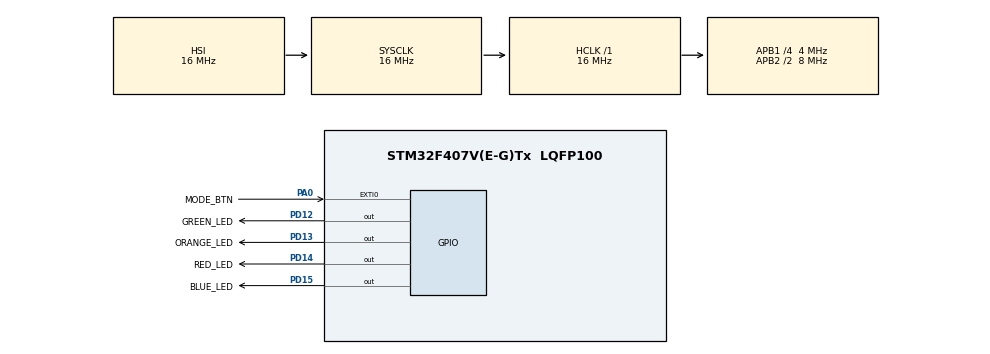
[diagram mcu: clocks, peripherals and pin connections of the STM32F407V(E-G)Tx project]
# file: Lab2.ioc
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Mcu.Family=STM32F4
Mcu.Name=STM32F407V(E-G)Tx
Mcu.Package=LQFP100
NVIC.EXTI0_IRQn=true\:0\:0\:false\:false\:true\:true\:true\:true
NVIC.PriorityGroup=NVIC_PRIORITYGROUP_4
PA0-WKUP.GPIO_Label=MODE_BTN
PA0-WKUP.GPIO_PuPd=GPIO_PULLDOWN
PA0-WKUP.Signal=GPXTI0
PD12.GPIO_Label=GREEN_LED
PD12.Signal=GPIO_Output
PD13.GPIO_Label=ORANGE_LED
PD13.Signal=GPIO_Output
PD14.GPIO_Label=RED_LED
PD14.Signal=GPIO_Output
PD15.GPIO_Label=BLUE_LED
PD15.Signal=GPIO_Output
ProjectManager.HeapSize=0x200
ProjectManager.StackSize=0x400
ProjectManager.TargetToolchain=STM32CubeIDE
RCC.48MHZClocksFreq_Value=32000000
RCC.AHBFreq_Value=16000000
RCC.APB1CLKDivider=RCC_HCLK_DIV4
RCC.APB1Freq_Value=4000000
RCC.APB1TimFreq_Value=8000000
RCC.APB2CLKDivider=RCC_HCLK_DIV2
RCC.APB2Freq_Value=8000000
RCC.APB2TimFreq_Value=16000000
RCC.CortexFreq_Value=16000000
RCC.HCLKFreq_Value=16000000
RCC.HSE_VALUE=25000000
RCC.HSI_VALUE=16000000
RCC.LSE_VALUE=32768
RCC.PLLM=8
RCC.PLLN=64
RCC.SYSCLKFreq_VALUE=16000000
RCC.VCOOutputFreq_Value=128000000
board=custom

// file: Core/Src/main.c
/* USER CODE BEGIN Header */
/**
  ******************************************************************************
  * @file           : main.c
  * @brief          : Main program body
  ******************************************************************************
  * @attention
  *
  * Copyright (c) 2024 STMicroelectronics.
  * All rights reserved.
  *
  * This software is licensed under terms that can be found in the LICENSE file
  * in the root directory of this software component.
  * If no LICENSE file comes with this software, it is provided AS-IS.
  *
  ******************************************************************************
  */
/* USER CODE END Header */
#include "main.h"

/* USER CODE BEGIN PV */
unsigned int ledN = 0;
/* USER CODE END PV */

void SystemClock_Config(void);
static void MX_GPIO_Init(void);

int main(void)
{

  /* MCU Configuration--------------------------------------------------------*/

  /* Reset of all peripherals, Initializes the Flash interface and the Systick. */
  HAL_Init();

  /* Configure the system clock */
  SystemClock_Config();

  /* Initialize all configured peripherals */
  MX_GPIO_Init();

  /* Infinite loop */
  while (1)
  {

    /* USER CODE BEGIN 3 */
	  switch (ledN){
	  case 0:
		  HAL_GPIO_WritePin(BLUE_LED_GPIO_Port, BLUE_LED_Pin, GPIO_PIN_SET);
		  HAL_Delay(250);

		  HAL_GPIO_WritePin(GREEN_LED_GPIO_Port, GREEN_LED_Pin, GPIO_PIN_SET);
		  HAL_Delay(200);

		  HAL_GPIO_WritePin(ORANGE_LED_GPIO_Port, ORANGE_LED_Pin, GPIO_PIN_SET);
		  HAL_Delay(100);

		  HAL_GPIO_WritePin(RED_LED_GPIO_Port, RED_LED_Pin, GPIO_PIN_SET);
		  HAL_Delay(50);

		  HAL_GPIO_WritePin(RED_LED_GPIO_Port, RED_LED_Pin, GPIO_PIN_RESET);
		  HAL_Delay(50);

		  HAL_GPIO_WritePin(ORANGE_LED_GPIO_Port, ORANGE_LED_Pin, GPIO_PIN_RESET);
		  HAL_Delay(100);

		  HAL_GPIO_WritePin(GREEN_LED_GPIO_Port, GREEN_LED_Pin, GPIO_PIN_RESET);
		  HAL_Delay(200);

		  HAL_GPIO_WritePin(BLUE_LED_GPIO_Port, BLUE_LED_Pin, GPIO_PIN_RESET);
		  HAL_Delay(250);
		  break;

	  case 1:
		  HAL_GPIO_WritePin(RED_LED_GPIO_Port, RED_LED_Pin, GPIO_PIN_SET);
		  HAL_Delay(250);

		  HAL_GPIO_WritePin(ORANGE_LED_GPIO_Port, ORANGE_LED_Pin, GPIO_PIN_SET);
		  HAL_Delay(200);

		  HAL_GPIO_WritePin(GREEN_LED_GPIO_Port, GREEN_LED_Pin, GPIO_PIN_SET);
		  HAL_Delay(100);

		  HAL_GPIO_WritePin(BLUE_LED_GPIO_Port, BLUE_LED_Pin, GPIO_PIN_SET);
		  HAL_Delay(50);

		  HAL_GPIO_WritePin(BLUE_LED_GPIO_Port, BLUE_LED_Pin, GPIO_PIN_RESET);
		  HAL_Delay(50);

		  HAL_GPIO_WritePin(GREEN_LED_GPIO_Port, GREEN_LED_Pin, GPIO_PIN_RESET);
		  HAL_Delay(100);

		  HAL_GPIO_WritePin(ORANGE_LED_GPIO_Port, ORANGE_LED_Pin, GPIO_PIN_RESET);
		  HAL_Delay(200);

		  HAL_GPIO_WritePin(RED_LED_GPIO_Port, RED_LED_Pin, GPIO_PIN_RESET);
		  HAL_Delay(250);
		  break;

	  case 2:
		  HAL_GPIO_WritePin(RED_LED_GPIO_Port, RED_LED_Pin, GPIO_PIN_SET);
		  HAL_Delay(100);

		  HAL_GPIO_WritePin(ORANGE_LED_GPIO_Port, ORANGE_LED_Pin, GPIO_PIN_SET);
		  HAL_Delay(100);

		  HAL_GPIO_WritePin(GREEN_LED_GPIO_Port, GREEN_LED_Pin, GPIO_PIN_SET);
		  HAL_Delay(100);

		  HAL_GPIO_WritePin(BLUE_LED_GPIO_Port, BLUE_LED_Pin, GPIO_PIN_SET);
		  HAL_Delay(100);

		  HAL_GPIO_WritePin(RED_LED_GPIO_Port, RED_LED_Pin, GPIO_PIN_RESET);
		  HAL_Delay(100);

		  HAL_GPIO_WritePin(ORANGE_LED_GPIO_Port, ORANGE_LED_Pin, GPIO_PIN_RESET);
		  HAL_Delay(100);

		  HAL_GPIO_WritePin(GREEN_LED_GPIO_Port, GREEN_LED_Pin, GPIO_PIN_RESET);
		  HAL_Delay(100);

		  HAL_GPIO_WritePin(BLUE_LED_GPIO_Port, BLUE_LED_Pin, GPIO_PIN_RESET);
		  HAL_Delay(100);
		  break;
	  case 3:

		  for (int i = 0; i < 50; i++)
		  {
			  HAL_GPIO_WritePin(RED_LED_GPIO_Port, RED_LED_Pin, GPIO_PIN_RESET);
			  HAL_Delay(i);
			  HAL_GPIO_WritePin(RED_LED_GPIO_Port, RED_LED_Pin, GPIO_PIN_SET);
			  HAL_Delay(i);
	  	  }

		  for (int i = 0; i < 50; i++)
		  {
			  HAL_GPIO_WritePin(ORANGE_LED_GPIO_Port, ORANGE_LED_Pin, GPIO_PIN_RESET);
			  HAL_Delay(i);
			  HAL_GPIO_WritePin(ORANGE_LED_GPIO_Port, ORANGE_LED_Pin, GPIO_PIN_SET);
			  HAL_Delay(i);
		  }

		  for (int i = 0; i < 50; i++)
		  {
			  HAL_GPIO_WritePin(GREEN_LED_GPIO_Port, GREEN_LED_Pin, GPIO_PIN_RESET);
			  HAL_Delay(i);
			  HAL_GPIO_WritePin(GREEN_LED_GPIO_Port, GREEN_LED_Pin, GPIO_PIN_SET);
			  HAL_Delay(i);
		  }

		  for (int i = 0; i < 50; i++)
		  {
			  HAL_GPIO_WritePin(BLUE_LED_GPIO_Port, BLUE_LED_Pin, GPIO_PIN_RESET);
			  HAL_Delay(i);
			  HAL_GPIO_WritePin(BLUE_LED_GPIO_Port, BLUE_LED_Pin, GPIO_PIN_SET);
			  HAL_Delay(i);
		  }

		  HAL_Delay(100);

		  for (int i = 50; i > 0; i--)
		  {
			  HAL_GPIO_WritePin(RED_LED_GPIO_Port, RED_LED_Pin, GPIO_PIN_SET);
			  HAL_Delay(i);
			  HAL_GPIO_WritePin(RED_LED_GPIO_Port, RED_LED_Pin, GPIO_PIN_RESET);
			  HAL_Delay(i);
		  }

		  for (int i = 50; i > 0; i--)
		  {
			  HAL_GPIO_WritePin(ORANGE_LED_GPIO_Port, ORANGE_LED_Pin, GPIO_PIN_SET);
			  HAL_Delay(i);
			  HAL_GPIO_WritePin(ORANGE_LED_GPIO_Port, ORANGE_LED_Pin, GPIO_PIN_RESET);
			  HAL_Delay(i);
		  }

		  for (int i = 50; i > 0; i--)
		  {
			  HAL_GPIO_WritePin(GREEN_LED_GPIO_Port, GREEN_LED_Pin, GPIO_PIN_SET);
			  HAL_Delay(i);
			  HAL_GPIO_WritePin(GREEN_LED_GPIO_Port, GREEN_LED_Pin, GPIO_PIN_RESET);
			  HAL_Delay(i);
		  }

		  for (int i = 50; i > 0; i--)
		  {
			  HAL_GPIO_WritePin(BLUE_LED_GPIO_Port, BLUE_LED_Pin, GPIO_PIN_SET);
			  HAL_Delay(i);
			  HAL_GPIO_WritePin(BLUE_LED_GPIO_Port, BLUE_LED_Pin, GPIO_PIN_RESET);
			  HAL_Delay(i);
		  }
		  break;
	  }
  }
  /* USER CODE END 3 */
}

void SystemClock_Config(void)
{
  RCC_OscInitTypeDef RCC_OscInitStruct = {0};
  RCC_ClkInitTypeDef RCC_ClkInitStruct = {0};

  /** Configure the main internal regulator output voltage
  */
  __HAL_RCC_PWR_CLK_ENABLE();
  __HAL_PWR_VOLTAGESCALING_CONFIG(PWR_REGULATOR_VOLTAGE_SCALE1);

  /** Initializes the RCC Oscillators according to the specified parameters
  * in the RCC_OscInitTypeDef structure.
  */
  RCC_OscInitStruct.OscillatorType = RCC_OSCILLATORTYPE_HSI;
  RCC_OscInitStruct.HSIState = RCC_HSI_ON;
  RCC_OscInitStruct.HSICalibrationValue = RCC_HSICALIBRATION_DEFAULT;
  RCC_OscInitStruct.PLL.PLLState = RCC_PLL_NONE;
  if (HAL_RCC_OscConfig(&RCC_OscInitStruct) != HAL_OK)
  {
    Error_Handler();
  }

  /** Initializes the CPU, AHB and APB buses clocks
  */
  RCC_ClkInitStruct.ClockType = RCC_CLOCKTYPE_HCLK|RCC_CLOCKTYPE_SYSCLK
                              |RCC_CLOCKTYPE_PCLK1|RCC_CLOCKTYPE_PCLK2;
  RCC_ClkInitStruct.SYSCLKSource = RCC_SYSCLKSOURCE_HSI;
  RCC_ClkInitStruct.AHBCLKDivider = RCC_SYSCLK_DIV1;
  RCC_ClkInitStruct.APB1CLKDivider = RCC_HCLK_DIV4;
  RCC_ClkInitStruct.APB2CLKDivider = RCC_HCLK_DIV2;

  if (HAL_RCC_ClockConfig(&RCC_ClkInitStruct, FLASH_LATENCY_0) != HAL_OK)
  {
    Error_Handler();
  }
}

static void MX_GPIO_Init(void)
{
  GPIO_InitTypeDef GPIO_InitStruct = {0};

  /* GPIO Ports Clock Enable */
  __HAL_RCC_GPIOA_CLK_ENABLE();
  __HAL_RCC_GPIOD_CLK_ENABLE();

  /*Configure GPIO pin Output Level */
  HAL_GPIO_WritePin(GPIOD, GREEN_LED_Pin|ORANGE_LED_Pin|RED_LED_Pin|BLUE_LED_Pin, GPIO_PIN_RESET);

  /*Configure GPIO pin : MODE_BTN_Pin */
  GPIO_InitStruct.Pin = MODE_BTN_Pin;
  GPIO_InitStruct.Mode = GPIO_MODE_IT_RISING;
  GPIO_InitStruct.Pull = GPIO_PULLDOWN;
  HAL_GPIO_Init(MODE_BTN_GPIO_Port, &GPIO_InitStruct);

  /*Configure GPIO pins : GREEN_LED_Pin ORANGE_LED_Pin RED_LED_Pin BLUE_LED_Pin */
  GPIO_InitStruct.Pin = GREEN_LED_Pin|ORANGE_LED_Pin|RED_LED_Pin|BLUE_LED_Pin;
  GPIO_InitStruct.Mode = GPIO_MODE_OUTPUT_PP;
  GPIO_InitStruct.Pull = GPIO_NOPULL;
  GPIO_InitStruct.Speed = GPIO_SPEED_FREQ_LOW;
  HAL_GPIO_Init(GPIOD, &GPIO_InitStruct);

  /* EXTI interrupt init*/
  HAL_NVIC_SetPriority(EXTI0_IRQn, 0, 0);
  HAL_NVIC_EnableIRQ(EXTI0_IRQn);

}

void Error_Handler(void)
{
  __disable_irq();
  while (1)
  {
  }
}
